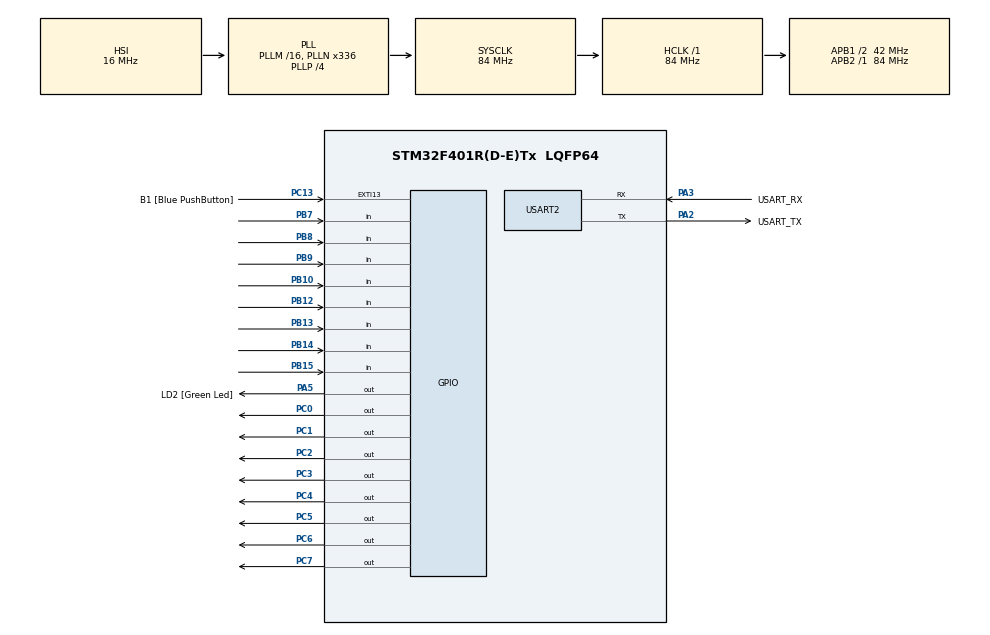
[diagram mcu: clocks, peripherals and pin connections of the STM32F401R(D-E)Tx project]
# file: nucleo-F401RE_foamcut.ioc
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Dma.Request0=USART2_TX
Dma.Request1=USART2_RX
Dma.USART2_RX.1.Direction=DMA_PERIPH_TO_MEMORY
Dma.USART2_RX.1.FIFOMode=DMA_FIFOMODE_DISABLE
Dma.USART2_RX.1.Instance=DMA1_Stream5
Dma.USART2_RX.1.MemDataAlignment=DMA_MDATAALIGN_BYTE
Dma.USART2_RX.1.MemInc=DMA_MINC_ENABLE
Dma.USART2_RX.1.Mode=DMA_NORMAL
Dma.USART2_RX.1.PeriphDataAlignment=DMA_PDATAALIGN_BYTE
Dma.USART2_RX.1.PeriphInc=DMA_PINC_DISABLE
Dma.USART2_RX.1.Priority=DMA_PRIORITY_HIGH
Dma.USART2_TX.0.Direction=DMA_MEMORY_TO_PERIPH
Dma.USART2_TX.0.FIFOMode=DMA_FIFOMODE_DISABLE
Dma.USART2_TX.0.Instance=DMA1_Stream6
Dma.USART2_TX.0.MemDataAlignment=DMA_MDATAALIGN_BYTE
Dma.USART2_TX.0.MemInc=DMA_MINC_ENABLE
Dma.USART2_TX.0.Mode=DMA_NORMAL
Dma.USART2_TX.0.PeriphDataAlignment=DMA_PDATAALIGN_BYTE
Dma.USART2_TX.0.PeriphInc=DMA_PINC_DISABLE
Dma.USART2_TX.0.Priority=DMA_PRIORITY_HIGH
Mcu.Family=STM32F4
Mcu.Name=STM32F401R(D-E)Tx
Mcu.Package=LQFP64
NVIC.DMA1_Stream5_IRQn=true\:0\:0\:false\:false\:true
NVIC.DMA1_Stream6_IRQn=true\:0\:0\:false\:false\:true
NVIC.PriorityGroup=NVIC_PRIORITYGROUP_0
NVIC.TIM1_TRG_COM_TIM11_IRQn=true\:0\:0\:false\:false\:true
PA13.GPIO_Label=TMS
PA13.Mode=Serial_Wire
PA13.Signal=SYS_JTMS-SWDIO
PA14.GPIO_Label=TCK
PA14.Mode=Serial_Wire
PA14.Signal=SYS_JTCK-SWCLK
PA2.GPIO_Label=USART_TX
PA2.GPIO_Mode=GPIO_MODE_AF_PP
PA2.GPIO_PuPd=GPIO_NOPULL
PA2.GPIO_Speed=GPIO_SPEED_FREQ_LOW
PA2.Mode=Asynchronous
PA2.Signal=USART2_TX
PA3.GPIO_Label=USART_RX
PA3.GPIO_Mode=GPIO_MODE_AF_PP
PA3.GPIO_PuPd=GPIO_NOPULL
PA3.GPIO_Speed=GPIO_SPEED_FREQ_LOW
PA3.Mode=Asynchronous
PA3.Signal=USART2_RX
PA5.GPIO_Label=LD2 [Green Led]
PA5.GPIO_Mode=GPIO_MODE_OUTPUT_PP
PA5.GPIO_PuPd=GPIO_NOPULL
PA5.GPIO_Speed=GPIO_SPEED_FREQ_LOW
PA5.Signal=GPIO_Output
PB10.GPIO_Mode=GPIO_MODE_INPUT
PB10.GPIO_PuPd=GPIO_PULLUP
PB10.Signal=GPIO_Input
PB12.GPIO_Mode=GPIO_MODE_INPUT
PB12.GPIO_PuPd=GPIO_PULLUP
PB12.Signal=GPIO_Input
PB13.GPIO_Mode=GPIO_MODE_INPUT
PB13.GPIO_PuPd=GPIO_PULLUP
PB13.Signal=GPIO_Input
PB14.GPIO_Mode=GPIO_MODE_INPUT
PB14.GPIO_PuPd=GPIO_PULLUP
PB14.Signal=GPIO_Input
PB15.GPIO_Mode=GPIO_MODE_INPUT
PB15.GPIO_PuPd=GPIO_PULLUP
PB15.Signal=GPIO_Input
PB3.GPIO_Label=SWO
PB3.Signal=SYS_JTDO-SWO
PB7.GPIO_Mode=GPIO_MODE_INPUT
PB7.GPIO_PuPd=GPIO_PULLUP
PB7.Signal=GPIO_Input
PB8.GPIO_Mode=GPIO_MODE_INPUT
PB8.GPIO_PuPd=GPIO_PULLUP
PB8.Signal=GPIO_Input
PB9.GPIO_Mode=GPIO_MODE_INPUT
PB9.GPIO_PuPd=GPIO_PULLUP
PB9.Signal=GPIO_Input
PC0.GPIO_ModeDefaultOutputPP=GPIO_MODE_OUTPUT_PP
PC0.GPIO_PuPd=GPIO_NOPULL
PC0.GPIO_Speed=GPIO_SPEED_FREQ_HIGH
PC0.PinState=GPIO_PIN_RESET
PC0.Signal=GPIO_Output
PC1.GPIO_ModeDefaultOutputPP=GPIO_MODE_OUTPUT_PP
PC1.GPIO_PuPd=GPIO_NOPULL
PC1.GPIO_Speed=GPIO_SPEED_FREQ_HIGH
PC1.PinState=GPIO_PIN_RESET
PC1.Signal=GPIO_Output
PC13-ANTI_TAMP.GPIO_Label=B1 [Blue PushButton]
PC13-ANTI_TAMP.GPIO_ModeDefaultEXTI=GPIO_MODE_EVT_RISING
PC13-ANTI_TAMP.GPIO_PuPd=GPIO_NOPULL
PC13-ANTI_TAMP.Signal=GPXTI13
PC14-OSC32_IN.Mode=LSE-External-Oscillator
PC14-OSC32_IN.Signal=RCC_OSC32_IN
PC15-OSC32_OUT.Mode=LSE-External-Oscillator
PC15-OSC32_OUT.Signal=RCC_OSC32_OUT
PC2.GPIO_ModeDefaultOutputPP=GPIO_MODE_OUTPUT_PP
PC2.GPIO_PuPd=GPIO_NOPULL
PC2.GPIO_Speed=GPIO_SPEED_FREQ_HIGH
PC2.PinState=GPIO_PIN_RESET
PC2.Signal=GPIO_Output
PC3.GPIO_ModeDefaultOutputPP=GPIO_MODE_OUTPUT_PP
PC3.GPIO_PuPd=GPIO_NOPULL
PC3.GPIO_Speed=GPIO_SPEED_FREQ_HIGH
PC3.PinState=GPIO_PIN_RESET
PC3.Signal=GPIO_Output
PC4.GPIO_ModeDefaultOutputPP=GPIO_MODE_OUTPUT_PP
PC4.GPIO_PuPd=GPIO_NOPULL
PC4.GPIO_Speed=GPIO_SPEED_FREQ_HIGH
PC4.PinState=GPIO_PIN_RESET
PC4.Signal=GPIO_Output
PC5.GPIO_ModeDefaultOutputPP=GPIO_MODE_OUTPUT_PP
PC5.GPIO_PuPd=GPIO_NOPULL
PC5.GPIO_Speed=GPIO_SPEED_FREQ_HIGH
PC5.PinState=GPIO_PIN_RESET
PC5.Signal=GPIO_Output
PC6.GPIO_ModeDefaultOutputPP=GPIO_MODE_OUTPUT_PP
PC6.GPIO_PuPd=GPIO_NOPULL
PC6.GPIO_Speed=GPIO_SPEED_FREQ_HIGH
PC6.PinState=GPIO_PIN_RESET
PC6.Signal=GPIO_Output
PC7.GPIO_ModeDefaultOutputPP=GPIO_MODE_OUTPUT_PP
PC7.GPIO_PuPd=GPIO_NOPULL
PC7.GPIO_Speed=GPIO_SPEED_FREQ_HIGH
PC7.PinState=GPIO_PIN_RESET
PC7.Signal=GPIO_Output
PH0\ -\ OSC_IN.Mode=HSE-External-Clock-Source
PH0\ -\ OSC_IN.Signal=RCC_OSC_IN
PH1\ -\ OSC_OUT.Mode=HSE-External-Clock-Source
PH1\ -\ OSC_OUT.Signal=RCC_OSC_OUT
ProjectManager.HeapSize=0x200
ProjectManager.StackSize=0x400
ProjectManager.TargetToolchain=SW4STM32
RCC.AHBFreq_Value=84000000
RCC.APB1CLKDivider=RCC_HCLK_DIV2
RCC.APB1Freq_Value=42000000
RCC.APB1TimFreq_Value=84000000
RCC.APB2Freq_Value=84000000
RCC.APB2TimFreq_Value=84000000
RCC.CortexFreq_Value=84000000
RCC.HCLKFreq_Value=84000000
RCC.HSE_VALUE=8000000
RCC.HSI_VALUE=16000000
RCC.PLLN=336
RCC.PLLP=RCC_PLLP_DIV4
RCC.PLLQ=7
RCC.SYSCLKFreq_VALUE=84000000
RCC.SYSCLKSource=RCC_SYSCLKSOURCE_PLLCLK
RCC.VCOOutputFreq_Value=336000000
TIM11.Period=10000
TIM11.Prescaler=420
VP_TIM11_VS_ClockSourceINT.Mode=Enable_Timer
VP_TIM11_VS_OPM.Mode=OPM_bit
board=NUCLEO-F401RE

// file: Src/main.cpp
/**
  ******************************************************************************
  * File Name          : main.c
  * Description        : Main program body
  ******************************************************************************
  *
  * COPYRIGHT(c) 2016 STMicroelectronics
  *
  * Redistribution and use in source and binary forms, with or without modification,
  * are permitted provided that the following conditions are met:
  *   1. Redistributions of source code must retain the above copyright notice,
  *      this list of conditions and the following disclaimer.
  *   2. Redistributions in binary form must reproduce the above copyright notice,
  *      this list of conditions and the following disclaimer in the documentation
  *      and/or other materials provided with the distribution.
  *   3. Neither the name of STMicroelectronics nor the names of its contributors
  *      may be used to endorse or promote products derived from this software
  *      without specific prior written permission.
  *
  * THIS SOFTWARE IS PROVIDED BY THE COPYRIGHT HOLDERS AND CONTRIBUTORS "AS IS"
  * AND ANY EXPRESS OR IMPLIED WARRANTIES, INCLUDING, BUT NOT LIMITED TO, THE
  * IMPLIED WARRANTIES OF MERCHANTABILITY AND FITNESS FOR A PARTICULAR PURPOSE ARE
  * DISCLAIMED. IN NO EVENT SHALL THE COPYRIGHT HOLDER OR CONTRIBUTORS BE LIABLE
  * FOR ANY DIRECT, INDIRECT, INCIDENTAL, SPECIAL, EXEMPLARY, OR CONSEQUENTIAL
  * DAMAGES (INCLUDING, BUT NOT LIMITED TO, PROCUREMENT OF SUBSTITUTE GOODS OR
  * SERVICES; LOSS OF USE, DATA, OR PROFITS; OR BUSINESS INTERRUPTION) HOWEVER
  * CAUSED AND ON ANY THEORY OF LIABILITY, WHETHER IN CONTRACT, STRICT LIABILITY,
  * OR TORT (INCLUDING NEGLIGENCE OR OTHERWISE) ARISING IN ANY WAY OUT OF THE USE
  * OF THIS SOFTWARE, EVEN IF ADVISED OF THE POSSIBILITY OF SUCH DAMAGE.
  *
  ******************************************************************************
  */
#include "main.h"
#include "stm32f4xx_hal.h"
#include "stm32f4xx_hal_gpio.h"
#include "stm32f4xx_hal_tim.h"
#include "dma.h"
#include "tim.h"
#include "usart.h"
#include "gpio.h"

/* USER CODE BEGIN Includes */
#include "fifo.hpp"
#include <string.h>
#include <algorithm>
/* USER CODE END Includes */

/* USER CODE BEGIN PV */
/* Private variables ---------------------------------------------------------*/
fifo<uint8_t, 16> rxFifo;
uint16_t rxXferCount = 0;
int rxError = 0;
int rxGood = 0;
char exp = 'a';
fifo<uint8_t, 16> txFifo;
uint16_t txXferCount = 0;
const char message[] = "bcdefghijklmnopqrstuvwxyz\r\n";
unsigned int mSent = 0;

/* USER CODE END PV */

void SystemClock_Config(void);
void Error_Handler(void);

/* USER CODE BEGIN PFP */
/* Private function prototypes -----------------------------------------------*/
void rxDMA();
void txDMA();

/* USER CODE END PFP */

int main(void)
{

  /* MCU Configuration----------------------------------------------------------*/

  /* Reset of all peripherals, Initializes the Flash interface and the Systick. */
  HAL_Init();

  /* Configure the system clock */
  SystemClock_Config();

  /* Initialize all configured peripherals */
  MX_GPIO_Init();
  MX_DMA_Init();
  MX_TIM11_Init();
  MX_USART2_UART_Init();

  /* USER CODE BEGIN 2 */
  // enable the timer
  __HAL_TIM_ENABLE(&htim11);

  /* USER CODE END 2 */

  /* Infinite loop */
  /* USER CODE BEGIN WHILE */
  size_t sptr = 0;
  size_t mLen = strlen(message);
  size_t nextSend = 1000;
  while (1)
  {
  /* USER CODE END WHILE */

  /* USER CODE BEGIN 3 */
      uint32_t tick = HAL_GetTick() + 1;
      txDMA();
      if (HAL_GetTick() == nextSend) {
          while (sptr < mLen) {
              fifo<uint8_t, 16>::carray d = txFifo.space_carray();
              size_t n = std::min(mLen - sptr, d.len_);
              std::copy(&message[sptr], &message[sptr]+n, d.buf_);
              txFifo.contents_add(n);
              sptr += n;
              mSent += n;
              txDMA();
          }
          sptr = 0;
          nextSend += 500;
      }

#if 0
      rxDMA();

      fifo<uint8_t, 16>::carray d = rxFifo.contents_carray();
      for (uint16_t i=0; i<d.len_; ++i) {
          if (d.buf_[i] != exp) {
              rxError++;
              exp = d.buf_[i] + 1;
          } else {
              ++exp;
              ++rxGood;
          }
          if (exp == '{') exp = 'a';
          d.buf_[i] = 0;
      }
      rxFifo.contents_remove(d.len_);
#endif

  }
  /* USER CODE END 3 */

}

/** System Clock Configuration
*/
void SystemClock_Config(void)
{

  RCC_OscInitTypeDef RCC_OscInitStruct;
  RCC_ClkInitTypeDef RCC_ClkInitStruct;

    /**Configure the main internal regulator output voltage
    */
  __HAL_RCC_PWR_CLK_ENABLE();

  __HAL_PWR_VOLTAGESCALING_CONFIG(PWR_REGULATOR_VOLTAGE_SCALE2);

    /**Initializes the CPU, AHB and APB busses clocks
    */
  RCC_OscInitStruct.OscillatorType = RCC_OSCILLATORTYPE_HSI;
  RCC_OscInitStruct.HSIState = RCC_HSI_ON;
  RCC_OscInitStruct.HSICalibrationValue = 16;
  RCC_OscInitStruct.PLL.PLLState = RCC_PLL_ON;
  RCC_OscInitStruct.PLL.PLLSource = RCC_PLLSOURCE_HSI;
  RCC_OscInitStruct.PLL.PLLM = 16;
  RCC_OscInitStruct.PLL.PLLN = 336;
  RCC_OscInitStruct.PLL.PLLP = RCC_PLLP_DIV4;
  RCC_OscInitStruct.PLL.PLLQ = 7;
  if (HAL_RCC_OscConfig(&RCC_OscInitStruct) != HAL_OK)
  {
    Error_Handler();
  }

    /**Initializes the CPU, AHB and APB busses clocks
    */
  RCC_ClkInitStruct.ClockType = RCC_CLOCKTYPE_HCLK|RCC_CLOCKTYPE_SYSCLK
                              |RCC_CLOCKTYPE_PCLK1|RCC_CLOCKTYPE_PCLK2;
  RCC_ClkInitStruct.SYSCLKSource = RCC_SYSCLKSOURCE_PLLCLK;
  RCC_ClkInitStruct.AHBCLKDivider = RCC_SYSCLK_DIV1;
  RCC_ClkInitStruct.APB1CLKDivider = RCC_HCLK_DIV2;
  RCC_ClkInitStruct.APB2CLKDivider = RCC_HCLK_DIV1;

  if (HAL_RCC_ClockConfig(&RCC_ClkInitStruct, FLASH_LATENCY_2) != HAL_OK)
  {
    Error_Handler();
  }

    /**Configure the Systick interrupt time
    */
  HAL_SYSTICK_Config(HAL_RCC_GetHCLKFreq()/1000);

    /**Configure the Systick
    */
  HAL_SYSTICK_CLKSourceConfig(SYSTICK_CLKSOURCE_HCLK);

  /* SysTick_IRQn interrupt configuration */
  HAL_NVIC_SetPriority(SysTick_IRQn, 0, 0);
}

/* USER CODE BEGIN 4 */

void rxDMA()
{
    // adjust rxFifo contents based on progress of DMA transfer
    if (rxXferCount != 0) {
        uint16_t b = __HAL_DMA_GET_COUNTER(huart2.hdmarx);
        rxFifo.contents_add(rxXferCount - b);
        rxXferCount = b;
    }

    // start a DMA tranfer to the rx fifo if there isn't one running
    if(huart2.RxState == HAL_UART_STATE_READY) {
        fifo<uint8_t, 16>::carray d = rxFifo.space_carray();
        if (d.len_ == 0) return;
        HAL_UART_Receive_DMA(&huart2, d.buf_, d.len_);
        rxXferCount = d.len_;
    }

}

void txDMA()
{
    // adjust rxFifo contents based on progress of DMA transfer
    if (txXferCount != 0) {
        uint16_t b = __HAL_DMA_GET_COUNTER(huart2.hdmatx);
        if ((txXferCount - b) > txFifo.contents_size()) {
            ++rxError;
        }
        txFifo.contents_remove(txXferCount - b);
        txXferCount = b;
    }

    // start a DMA transfer from the tx fifo if there isn't one running
    if(huart2.gState == HAL_UART_STATE_READY) {
        txFifo.contents_remove(txXferCount);
        txXferCount = 0;
        fifo<uint8_t, 16>::carray d = txFifo.contents_carray();
        if (d.len_ == 0) return;
        HAL_UART_Transmit_DMA(&huart2, d.buf_, d.len_);
        txXferCount = d.len_;
    }
}

void HAL_TIM_PeriodElapsedCallback(TIM_HandleTypeDef *htim)
{
  /* Prevent unused argument(s) compilation warning */
  UNUSED(htim);

  HAL_GPIO_TogglePin(LD2_GPIO_Port, LD2_Pin);

  // re-initialize counter and update registers.
  // counter and prescaler counter are cleared
  //htim->Instance->EGR = TIM_EGR_UG;
  // this will cause an interrupt unless

  // set the timer reload value
  //__HAL_TIM_SET_AUTORELOAD(htim, 10000);

  // this is done by HAL_TIM_IRQHandler
  // clear interrupt flag
  //__HAL_TIM_CLEAR_IT(htim, TIM_SR_UIF);
}

/* USER CODE END 4 */

void Error_Handler(void)
{
  while(1)
  {
  }
}

/************************ (C) COPYRIGHT STMicroelectronics *****END OF FILE****/
